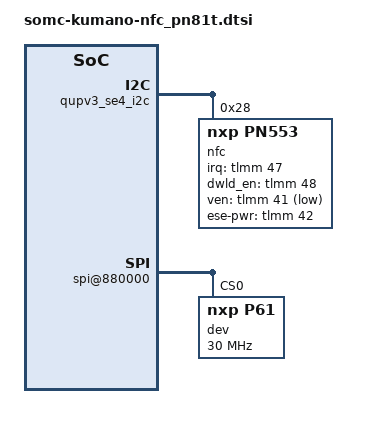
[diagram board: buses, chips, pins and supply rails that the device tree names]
/* arch/arm64/boot/dts/somc/somc-kumano-nfc_81t.dtsi
 *
 * This program is free software; you can redistribute it and/or modify
 * it under the terms of the GNU General Public License version 2 and
 * only version 2 as published by the Free Software Foundation.
 *
 * This program is distributed in the hope that it will be useful,
 * but WITHOUT ANY WARRANTY; without even the implied warranty of
 * MERCHANTABILITY or FITNESS FOR A PARTICULAR PURPOSE.  See the
 * GNU General Public License for more details.
 */

&qupv3_se4_i2c {
	nfc@28 {
		compatible = "nxp,pn553";
		reg = <0x28>;
		interrupt-parent = <&tlmm>;
		interrupts = <47 0x1>;
		nxp,irq_gpio = <&tlmm 47 0x00>;
		nxp,dwld_en = <&tlmm 48 0x00>;
		nxp,ven = <&tlmm 41 0x01>;
		nxp,ese-pwr = <&tlmm 42 0x00>;
	};
};

&soc {
	nfc,pm-ops {
		compatible = "sony,pn553-pm-ops";
	};

	/* SPI: QUP0 */
	spi@880000 {
		/*
		 * Stock overrides the compatible with "qcom,spi-geni-cloned",
		 * which the geni driver in this tree does not match - not
		 * something the upstream merge dropped, it has never been
		 * here.  The controller then never binds, so no SPI master is
		 * created and the p61 child below is never registered, which
		 * is what /dev/p73 is made from.  Nothing else uses SE0, so
		 * there is nothing to clone it away from; leave the base
		 * compatible alone.
		 */
		pinctrl-0 = <&sm_gpio_0 &sm_gpio_1 &sm_gpio_2>;
		pinctrl-1 = <&sm_gpio_0_sleep &sm_gpio_1 &sm_gpio_2>;
		nxp,ese-pwr = <&tlmm 42 0x00>;
		nxp,ese-cs = <&tlmm 3 0x00>;
		status = "okay";

		dev@0 {
			compatible = "nxp,p61";
			reg = <0>;
			spi-max-frequency = <30000000>;
		};
	};
};

&tlmm {
	sm_gpio_0_sleep: sm_gpio_0_sleep {
		mux {
			pins = "gpio0";
			function = "gpio";
		};

		config {
			pins = "gpio0";
			drive-strength = <2>;
			output-low;
		};
	};
};
